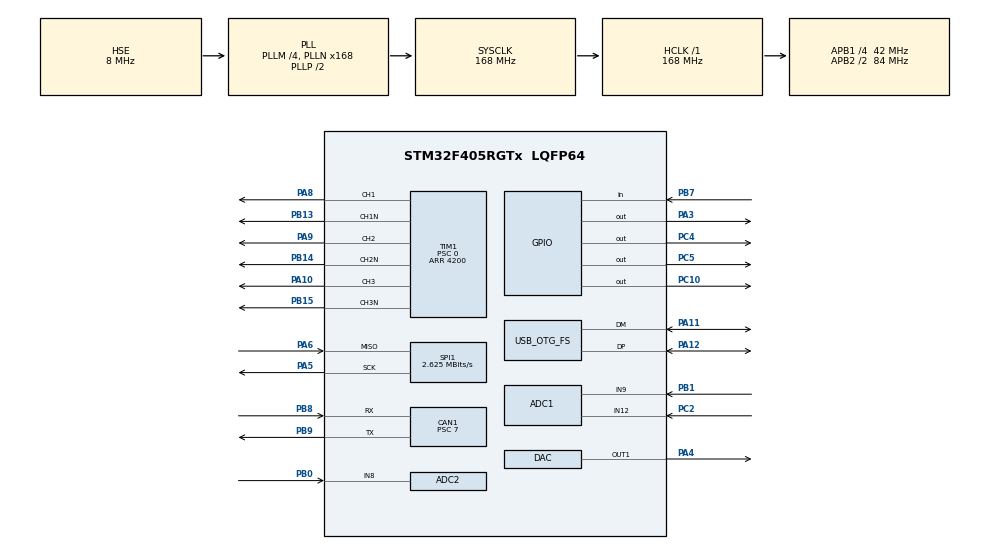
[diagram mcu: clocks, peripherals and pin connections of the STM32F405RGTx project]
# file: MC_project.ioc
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ADC1.Channel-0\#ChannelRegularConversion=ADC_CHANNEL_8
ADC1.Channel-1\#ChannelRegularConversion=ADC_CHANNEL_9
ADC1.Channel-2\#ChannelRegularConversion=ADC_CHANNEL_12
ADC1.ContinuousConvMode=DISABLE
ADC1.DMAContinuousRequests=ENABLE
ADC1.EOCSelection=ADC_EOC_SINGLE_CONV
ADC1.ExternalTrigConv=ADC_EXTERNALTRIGCONV_T8_CC1
ADC1.ExternalTrigConvEdge=ADC_EXTERNALTRIGCONVEDGE_FALLING
ADC1.InjNumberOfConversion=0
ADC1.Mode=ADC_DUALMODE_REGSIMULT
ADC1.NbrOfConversion=3
ADC1.NbrOfConversionFlag=1
ADC1.Rank-0\#ChannelRegularConversion=1
ADC1.Rank-1\#ChannelRegularConversion=2
ADC1.Rank-2\#ChannelRegularConversion=3
ADC1.SamplingTime-0\#ChannelRegularConversion=ADC_SAMPLETIME_3CYCLES
ADC1.SamplingTime-1\#ChannelRegularConversion=ADC_SAMPLETIME_3CYCLES
ADC1.SamplingTime-2\#ChannelRegularConversion=ADC_SAMPLETIME_3CYCLES
ADC1.ScanConvMode=ENABLE
ADC1.master=1
ADC2.Channel-4\#ChannelRegularConversion=ADC_CHANNEL_8
ADC2.Channel-5\#ChannelRegularConversion=ADC_CHANNEL_9
ADC2.Channel-6\#ChannelRegularConversion=ADC_CHANNEL_12
ADC2.DMAAccessMode=ADC_DMAACCESSMODE_2
ADC2.DMAContinuousRequests=DISABLE
ADC2.Mode=ADC_DUALMODE_REGSIMULT
ADC2.NbrOfConversion=3
ADC2.NbrOfConversionFlag=1
ADC2.Rank-4\#ChannelRegularConversion=1
ADC2.Rank-5\#ChannelRegularConversion=2
ADC2.Rank-6\#ChannelRegularConversion=3
ADC2.SamplingTime-4\#ChannelRegularConversion=ADC_SAMPLETIME_3CYCLES
ADC2.SamplingTime-5\#ChannelRegularConversion=ADC_SAMPLETIME_3CYCLES
ADC2.SamplingTime-6\#ChannelRegularConversion=ADC_SAMPLETIME_3CYCLES
ADC2.ScanConvMode=ENABLE
CAN1.ABOM=ENABLE
CAN1.BS1=CAN_BS1_5TQ
CAN1.BS2=CAN_BS2_6TQ
CAN1.CalculateTimeQuantum=166.66666666666669
CAN1.Prescaler=7
Dma.ADC1.0.Direction=DMA_PERIPH_TO_MEMORY
Dma.ADC1.0.FIFOMode=DMA_FIFOMODE_DISABLE
Dma.ADC1.0.Instance=DMA2_Stream0
Dma.ADC1.0.MemDataAlignment=DMA_MDATAALIGN_WORD
Dma.ADC1.0.MemInc=DMA_MINC_ENABLE
Dma.ADC1.0.Mode=DMA_CIRCULAR
Dma.ADC1.0.PeriphDataAlignment=DMA_PDATAALIGN_WORD
Dma.ADC1.0.PeriphInc=DMA_PINC_DISABLE
Dma.ADC1.0.Priority=DMA_PRIORITY_HIGH
Dma.Request0=ADC1
Dma.Request1=SPI1_RX
Dma.SPI1_RX.1.Direction=DMA_PERIPH_TO_MEMORY
Dma.SPI1_RX.1.FIFOMode=DMA_FIFOMODE_DISABLE
Dma.SPI1_RX.1.Instance=DMA2_Stream2
Dma.SPI1_RX.1.MemDataAlignment=DMA_MDATAALIGN_HALFWORD
Dma.SPI1_RX.1.MemInc=DMA_MINC_ENABLE
Dma.SPI1_RX.1.Mode=DMA_NORMAL
Dma.SPI1_RX.1.PeriphDataAlignment=DMA_PDATAALIGN_HALFWORD
Dma.SPI1_RX.1.PeriphInc=DMA_PINC_DISABLE
Dma.SPI1_RX.1.Priority=DMA_PRIORITY_MEDIUM
Mcu.Family=STM32F4
Mcu.Name=STM32F405RGTx
Mcu.Package=LQFP64
NVIC.CAN1_RX0_IRQn=true\:0\:0\:false\:false\:true\:true\:true
NVIC.CAN1_RX1_IRQn=true\:0\:0\:false\:false\:true\:true\:true
NVIC.DMA2_Stream0_IRQn=true\:1\:0\:true\:false\:false\:false\:true
NVIC.DMA2_Stream2_IRQn=true\:0\:0\:false\:false\:true\:false\:true
NVIC.OTG_FS_IRQn=true\:0\:0\:false\:false\:true\:false\:true
NVIC.PriorityGroup=NVIC_PRIORITYGROUP_4
NVIC.TIM3_IRQn=true\:0\:0\:false\:false\:true\:true\:true
PA10.Signal=S_TIM1_CH3
PA11.Mode=Device_Only
PA11.Signal=USB_OTG_FS_DM
PA12.Mode=Device_Only
PA12.Signal=USB_OTG_FS_DP
PA13.Mode=Serial_Wire
PA13.Signal=SYS_JTMS-SWDIO
PA14.Mode=Serial_Wire
PA14.Signal=SYS_JTCK-SWCLK
PA3.Signal=GPIO_Output
PA4.Signal=COMP_DAC1_group
PA5.GPIO_PuPd=GPIO_PULLUP
PA5.Mode=RX_Only_Simplex_Unidirect_Master
PA5.Signal=SPI1_SCK
PA6.Mode=RX_Only_Simplex_Unidirect_Master
PA6.Signal=SPI1_MISO
PA8.Signal=S_TIM1_CH1
PA9.Signal=S_TIM1_CH2
PB0.Signal=ADCx_IN8
PB1.Signal=ADCx_IN9
PB13.Mode=PWM Generation1 CH1 CH1N
PB13.Signal=TIM1_CH1N
PB14.Mode=PWM Generation2 CH2 CH2N
PB14.Signal=TIM1_CH2N
PB15.Mode=PWM Generation3 CH3 CH3N
PB15.Signal=TIM1_CH3N
PB7.Signal=GPIO_Input
PB8.GPIO_PuPd=GPIO_PULLUP
PB8.Mode=Master
PB8.Signal=CAN1_RX
PB9.Mode=Master
PB9.Signal=CAN1_TX
PC10.Signal=GPIO_Output
PC2.Signal=ADCx_IN12
PC4.Signal=GPIO_Output
PC5.Signal=GPIO_Output
PH0-OSC_IN.Mode=HSE-External-Oscillator
PH0-OSC_IN.Signal=RCC_OSC_IN
PH1-OSC_OUT.Mode=HSE-External-Oscillator
PH1-OSC_OUT.Signal=RCC_OSC_OUT
ProjectManager.HeapSize=0x200
ProjectManager.StackSize=0x400
ProjectManager.TargetToolchain=MDK-ARM V5
RCC.48MHZClocksFreq_Value=48000000
RCC.AHBFreq_Value=168000000
RCC.APB1CLKDivider=RCC_HCLK_DIV4
RCC.APB1Freq_Value=42000000
RCC.APB1TimFreq_Value=84000000
RCC.APB2CLKDivider=RCC_HCLK_DIV2
RCC.APB2Freq_Value=84000000
RCC.APB2TimFreq_Value=168000000
RCC.CortexFreq_Value=168000000
RCC.HCLKFreq_Value=168000000
RCC.HSE_VALUE=8000000
RCC.HSI_VALUE=16000000
RCC.LSE_VALUE=32768
RCC.PLLM=4
RCC.PLLN=168
RCC.PLLQ=7
RCC.SYSCLKFreq_VALUE=168000000
RCC.SYSCLKSource=RCC_SYSCLKSOURCE_PLLCLK
RCC.VCOOutputFreq_Value=336000000
SH.ADCx_IN12.0=ADC1_IN12,IN12
SH.ADCx_IN12.1=ADC2_IN12,IN12
SH.ADCx_IN8.0=ADC2_IN8,IN8
SH.ADCx_IN8.1=ADC1_IN8,IN8
SH.ADCx_IN9.0=ADC1_IN9,IN9
SH.ADCx_IN9.1=ADC2_IN9,IN9
SH.COMP_DAC1_group.0=DAC_OUT1,DAC_OUT1
SH.S_TIM1_CH1.0=TIM1_CH1,PWM Generation1 CH1 CH1N
SH.S_TIM1_CH2.0=TIM1_CH2,PWM Generation2 CH2 CH2N
SH.S_TIM1_CH3.0=TIM1_CH3,PWM Generation3 CH3 CH3N
SPI1.BaudRatePrescaler=SPI_BAUDRATEPRESCALER_32
SPI1.CLKPhase=SPI_PHASE_2EDGE
SPI1.CLKPolarity=SPI_POLARITY_HIGH
SPI1.CalculateBaudRate=2.625 MBits/s
SPI1.DataSize=SPI_DATASIZE_16BIT
SPI1.Direction=SPI_DIRECTION_2LINES_RXONLY
SPI1.Mode=SPI_MODE_MASTER
SPI1.VirtualType=VM_MASTER
TIM1.Channel-Output\ Compare4\ No\ Output=TIM_CHANNEL_4
TIM1.Channel-PWM\ Generation1\ CH1\ CH1N=TIM_CHANNEL_1
TIM1.Channel-PWM\ Generation2\ CH2\ CH2N=TIM_CHANNEL_2
TIM1.Channel-PWM\ Generation3\ CH3\ CH3N=TIM_CHANNEL_3
TIM1.CounterMode=TIM_COUNTERMODE_CENTERALIGNED1
TIM1.DeadTime=16
TIM1.Period=4200
TIM1.Prescaler=0
TIM1.TIM_MasterSlaveMode=TIM_MASTERSLAVEMODE_ENABLE
TIM3.Channel-Output\ Compare1\ No\ Output=TIM_CHANNEL_1
TIM3.Period=4200
TIM3.Prescaler=99
TIM8.Channel-PWM\ Generation1\ No\ Output=TIM_CHANNEL_1
TIM8.CounterMode=TIM_COUNTERMODE_UP
TIM8.Period=8399
TIM8.Pulse-PWM\ Generation1\ No\ Output=4020
USB_DEVICE.CLASS_NAME_FS=CDC
USB_DEVICE.VirtualMode-CDC_FS=Cdc
USB_DEVICE.VirtualModeFS=Cdc_FS
USB_OTG_FS.VirtualMode=Device_Only
VP_TIM1_VS_ClockSourceINT.Mode=Internal
VP_TIM1_VS_no_output4.Mode=Output Compare4 No Output
VP_TIM3_VS_ClockSourceINT.Mode=Internal
VP_TIM3_VS_no_output1.Mode=Output Compare1 No Output
VP_TIM8_VS_ClockSourceINT.Mode=Internal
VP_TIM8_VS_ClockSourceITR.Mode=TriggerSource_ITR0
VP_TIM8_VS_ControllerModeReset.Mode=Reset Mode
VP_TIM8_VS_no_output1.Mode=PWM Generation1 No Output
VP_USB_DEVICE_VS_USB_DEVICE_CDC_FS.Mode=CDC_FS
board=custom

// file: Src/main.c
/* USER CODE BEGIN Header */
/**
  ******************************************************************************
  * @file           : main.c
  * @brief          : Main program body
  ******************************************************************************
  * @attention
  *
  * <h2><center>&copy; Copyright (c) 2020 STMicroelectronics.
  * All rights reserved.</center></h2>
  *
  * This software component is licensed by ST under Ultimate Liberty license
  * SLA0044, the "License"; You may not use this file except in compliance with
  * the License. You may obtain a copy of the License at:
  *                             www.st.com/SLA0044
  *
  ******************************************************************************
  */
/* USER CODE END Header */

#include "main.h"
#include "adc.h"
#include "can.h"
#include "dac.h"
#include "dma.h"
#include "spi.h"
#include "tim.h"
#include "usb_device.h"
#include "gpio.h"

/* USER CODE BEGIN Includes */
#include "fmath.h"
#include "DWT.h"
#include "current_functions.h"
#include "PID_controller.h"
#include "motor_calibration.h"

#define ARM_MATH_CM4
#include "arm_math.h"
#include "usbd_cdc_if.h"
/* USER CODE END Includes */

/* USER CODE BEGIN PD */
#define PI_2_3 (float)PI*2.f/3.f
#define MAX_PWM TIM1->ARR
#define HALF_PWM (uint16_t)(MAX_PWM/2)

#define SHUNT_RES 0.005f
#define AMPL_GAIN 10
#define ENCODER_FID (float)(2*PI/524288.f)

#define EN_GATE_PIN GPIO_PIN_10
#define GAIN_PIN GPIO_PIN_7

#define PWM_FREQ 10000
#define SAMPLE_TIME (float)1/PWM_FREQ
#define ADC_2_VOLT (float)(1/66.32f)
#define ADC_2_CUR (float)(3.3/4095/SHUNT_RES/AMPL_GAIN)

#define __LED_D1_ON HAL_GPIO_WritePin(GPIOC, GPIO_PIN_5, 1)
#define __LED_D2_ON HAL_GPIO_WritePin(GPIOC, GPIO_PIN_4, 1)
#define __LED_D1_OFF HAL_GPIO_WritePin(GPIOC, GPIO_PIN_5, 0)
#define __LED_D2_OFF HAL_GPIO_WritePin(GPIOC, GPIO_PIN_4, 0)
#define __DAC_SET_V(signal) HAL_DAC_SetValue(&hdac, DAC_CHANNEL_1, DAC_ALIGN_12B_R, (uint16_t)(signal*4095/10 + 2048))

//#define USB_COM
#define CAN_COM
/* USER CODE END PD */

/* USER CODE BEGIN PV */

uint16_t ind = 0;
uint32_t encoder_data;
float tm = 0;
float freq = 0.02f;

cur_dq_t signal;
cur_dq_t space_voltage_vector;
cur_abc_t phase_voltage;

servo_t motor;
cur_dq_t space_current_vector;
cur_dq_t rotor_current_vector;

pi_t current_controller_d;
pi_t current_controller_q;
pi_t velocity_controller;
pi_t position_controller;
pll_t velocity_pll;

volatile adc_res_t adc_res[2];
uint8_t can_Tx_arr[8];
uint8_t usb_Tx_arr[11];
uint8_t can_Rx_arr[8];

uint16_t enc_buf[2];
uint8_t byte;
uint8_t a = 0;
CAN_TxHeaderTypeDef pHeader; //declare a specific header for message transmittions
uint32_t TxMailbox;
uint8_t a,r; //declare byte to be transmitted //declare a receive byte
CAN_FilterTypeDef sFilterConfig;

/* USER CODE END PV */

void SystemClock_Config(void);

int main(void)
{

  /* MCU Configuration--------------------------------------------------------*/

  /* Reset of all peripherals, Initializes the Flash interface and the Systick. */
  HAL_Init();

  /* Configure the system clock */
  SystemClock_Config();

  /* Initialize all configured peripherals */
  MX_GPIO_Init();
  MX_DMA_Init();
  MX_ADC1_Init();
  MX_CAN1_Init();
  MX_TIM1_Init();
  MX_USB_DEVICE_Init();
  MX_ADC2_Init();
  MX_DAC_Init();
  MX_TIM8_Init();
  MX_SPI1_Init();
  MX_TIM3_Init();
  /* USER CODE BEGIN 2 */

	DWT_start_timer();

	HAL_ADC_Start(&hadc2);
	HAL_ADCEx_MultiModeStart_DMA(&hadc1, (uint32_t *)adc_res, 6);

	htim1.Instance->EGR |= TIM_EGR_UG;
	htim8.Instance->EGR |= TIM_EGR_UG;

	htim8.Instance->CCER = TIM_CCER_CC1E | TIM_CCER_CC4E;
	htim8.Instance->BDTR |= TIM_BDTR_MOE;

	__HAL_TIM_ENABLE(&htim8);

	//Timer 1 complementary mode start
	htim1.Instance->CCER = TIM_CCER_CC1E | TIM_CCER_CC1NE |
	TIM_CCER_CC2E | TIM_CCER_CC2NE |
	TIM_CCER_CC3E | TIM_CCER_CC3NE;
	htim1.Instance->BDTR |= TIM_BDTR_MOE;

	__HAL_TIM_ENABLE(&htim1);

	HAL_GPIO_WritePin(GPIOC, EN_GATE_PIN, 1);
	HAL_DAC_Start(&hdac, DAC1_CHANNEL_1);
	HAL_TIM_Base_Start_IT(&htim3);

	__HAL_SPI_ENABLE(&hspi1);

	//HAL_GPIO_WritePin(GPIOC, GAIN_PIN, 1);

	motor.pole_pairs = 10;
	motor.target_angle = 0.f;

	current_controller_d.Ki = 6;
	current_controller_d.Kp = 0.3f;
	current_controller_d.I_max = 20;
	current_controller_d.u_max = motor.voltage;
	current_controller_d.freq = PWM_FREQ;

	current_controller_q = current_controller_d;

	velocity_controller.Kp = 6;
	velocity_controller.Ki = 3;
	velocity_controller.freq = PWM_FREQ;

	position_controller.Ki = 0;
	position_controller.Kp = 8;
	position_controller.freq = PWM_FREQ;

	velocity_controller.I_max = 10;
	position_controller.I_max = 6;

	velocity_controller.u_max = 20;
	position_controller.u_max = 20;

	velocity_pll.controller.Kp = 50;
	velocity_pll.controller.Ki = 100;
	velocity_pll.controller.u_max = 10000;
	velocity_pll.controller.I_max = 10000;
	velocity_pll.controller.I_last = 0;
	velocity_pll.freq = PWM_FREQ;
	velocity_pll.controller.freq = velocity_pll.freq;
	velocity_pll.theta = 0;

	pHeader.DLC=8; //give message size of 1 byte
	pHeader.IDE=CAN_ID_STD; //set identifier to standard
	pHeader.RTR=0; //set data type to remote transmission request?
	pHeader.StdId=0x244; //define a standard identifier, used for message identification by filters (switch this for the other microcontroller)

		//filter one (stack light blink)
	sFilterConfig.FilterFIFOAssignment=CAN_FILTER_FIFO0; //set fifo assignment
	sFilterConfig.FilterIdHigh=0x000;
	sFilterConfig.FilterIdLow=0x000;
	sFilterConfig.FilterMaskIdHigh=0x0000;
	sFilterConfig.FilterMaskIdLow=0x0000;
	sFilterConfig.FilterScale=CAN_FILTERSCALE_32BIT; //set filter scale
	sFilterConfig.FilterActivation=ENABLE;
	sFilterConfig.FilterBank = 0;
	sFilterConfig.FilterMode = CAN_FILTERMODE_IDMASK;
	sFilterConfig.SlaveStartFilterBank = 14;

	HAL_CAN_ConfigFilter(&hcan1, &sFilterConfig); //configure CAN filter
	HAL_CAN_Start(&hcan1);

	HAL_CAN_ActivateNotification(&hcan1, CAN_IT_RX_FIFO0_MSG_PENDING); //enable interrupts

	TIM3->ARR = 8400;

	motor_calibrate(&motor);
  /* USER CODE END 2 */

  /* Infinite loop */
  /* USER CODE BEGIN WHILE */
  while (1)
  {

		//__LED_D1_ON;
		//__LED_D2_ON;

    /* USER CODE END WHILE */

  }
}

void SystemClock_Config(void)
{
  RCC_OscInitTypeDef RCC_OscInitStruct = {0};
  RCC_ClkInitTypeDef RCC_ClkInitStruct = {0};

  /** Configure the main internal regulator output voltage
  */
  __HAL_RCC_PWR_CLK_ENABLE();
  __HAL_PWR_VOLTAGESCALING_CONFIG(PWR_REGULATOR_VOLTAGE_SCALE1);
  /** Initializes the CPU, AHB and APB busses clocks
  */
  RCC_OscInitStruct.OscillatorType = RCC_OSCILLATORTYPE_HSE;
  RCC_OscInitStruct.HSEState = RCC_HSE_ON;
  RCC_OscInitStruct.PLL.PLLState = RCC_PLL_ON;
  RCC_OscInitStruct.PLL.PLLSource = RCC_PLLSOURCE_HSE;
  RCC_OscInitStruct.PLL.PLLM = 4;
  RCC_OscInitStruct.PLL.PLLN = 168;
  RCC_OscInitStruct.PLL.PLLP = RCC_PLLP_DIV2;
  RCC_OscInitStruct.PLL.PLLQ = 7;
  if (HAL_RCC_OscConfig(&RCC_OscInitStruct) != HAL_OK)
  {
    Error_Handler();
  }
  /** Initializes the CPU, AHB and APB busses clocks
  */
  RCC_ClkInitStruct.ClockType = RCC_CLOCKTYPE_HCLK|RCC_CLOCKTYPE_SYSCLK
                              |RCC_CLOCKTYPE_PCLK1|RCC_CLOCKTYPE_PCLK2;
  RCC_ClkInitStruct.SYSCLKSource = RCC_SYSCLKSOURCE_PLLCLK;
  RCC_ClkInitStruct.AHBCLKDivider = RCC_SYSCLK_DIV1;
  RCC_ClkInitStruct.APB1CLKDivider = RCC_HCLK_DIV4;
  RCC_ClkInitStruct.APB2CLKDivider = RCC_HCLK_DIV2;

  if (HAL_RCC_ClockConfig(&RCC_ClkInitStruct, FLASH_LATENCY_5) != HAL_OK)
  {
    Error_Handler();
  }
}

/* USER CODE BEGIN 4 */

void DMA2_Stream0_IRQHandler()
{
//	tm += 2*PI*freq/PWM_FREQ;;
//	if(tm>2*PI)
//		tm -= 2*PI;
	__LED_D2_ON;
	volatile adc_res_t *res = (DMA2->LISR & DMA_LISR_TCIF0) ? adc_res + 1 : adc_res;
	motor.phase_current.a = ((res->cur_a_1 + res->cur_a_2)*0.5f - 2048)*ADC_2_CUR;
	motor.phase_current.b = ((res->cur_b_1 + res->cur_b_2)*0.5f - 2048)*ADC_2_CUR;
	motor.phase_current.c = - motor.phase_current.a - motor.phase_current.b;

	motor.voltage = (float)((res->volt_1 + res->volt_2)*0.5f*ADC_2_VOLT);

	current_controller_d.u_max = motor.voltage*ISQRT3;
	current_controller_q.u_max = motor.voltage*ISQRT3;
	current_controller_d.I_max = 0.8f*current_controller_d.u_max;
	current_controller_q.I_max = 0.8f*current_controller_q.u_max;

	space_current_vector = clark_transform(&motor.phase_current);
	rotor_current_vector = park_transform(&space_current_vector, motor.theta);

	motor.current_theta = _atan2_(rotor_current_vector.d, rotor_current_vector.q);
	motor.current = sqrtf(SQ(space_current_vector.d) + SQ(space_current_vector.q));

	//get encoder value from bytes array
	encoder_data = (((uint32_t)enc_buf[1] << 16 | (uint32_t)enc_buf[0]) >> 8) & ((1 << 19) - 1);

	motor.angle = encoder_data*ENCODER_FID;
	pll_update(&velocity_pll, motor.angle);
	motor.velocity = velocity_pll.velocity;
	motor.theta = fmodf(motor.angle*motor.pole_pairs, 2*PI);

	pi_update(&current_controller_d, - rotor_current_vector.d);
	pi_update(&current_controller_q,  velocity_controller.u - rotor_current_vector.q);
	pi_update(&velocity_controller, position_controller.u - motor.velocity);
	pi_update(&position_controller,  motor.target_angle - velocity_pll.theta);

	signal.q = current_controller_q.u;
	signal.d = current_controller_d.u;

	motor.rotor_vector.d = current_controller_d.u;
	motor.rotor_vector.q = current_controller_q.u;

	space_voltage_vector = inv_park_transform(&signal, motor.theta);
	phase_voltage = inv_clark_transform(&space_voltage_vector);

	//TIM8->CCR1 = CCR1;
	//TIM1->CCR1 = (uint16_t)(k*sinf(tm) + HALF_PWM);
	//TIM1->CCR2 = (uint16_t)(k*sinf(tm+PI_2_3) + HALF_PWM);
	//TIM1->CCR3 = (uint16_t)(k*sinf(tm+2*PI_2_3) + HALF_PWM);

	TIM1->CCR1 = phase_voltage.b*HALF_PWM/motor.voltage + HALF_PWM;
	TIM1->CCR2 = phase_voltage.c*HALF_PWM/motor.voltage + HALF_PWM;
	TIM1->CCR3 = phase_voltage.a*HALF_PWM/motor.voltage + HALF_PWM;

	HAL_SPI_Receive(&hspi1, (uint8_t *)enc_buf, 2, 50);

	DMA2->LIFCR = DMA_LIFCR_CTCIF0 | DMA_LIFCR_CHTIF0;
	__LED_D2_OFF;
}

void HAL_TIM_PeriodElapsedCallback(TIM_HandleTypeDef *htim){

	if(htim->Instance == TIM3){

	#ifdef CAN_COM
		memcpy(can_Tx_arr, &motor.angle, 4);
		memcpy(can_Tx_arr + 4, &motor.current, 4);
		HAL_CAN_AddTxMessage(&hcan1, &pHeader, (uint8_t *)can_Tx_arr, &TxMailbox);  //function to add message for transmition
	#endif //USB_COM

	#ifdef USB_COM
		usb_Tx_arr[0] = 0xff;
		memcpy(usb_Tx_arr+1, &motor.angle, 4);
		memcpy(usb_Tx_arr+5, &motor.rotor_vector.q, 4);
		CDC_Transmit_FS((uint8_t *)usb_Tx_arr, 13);
	#endif //USB_COM
	}

}
void HAL_CAN_RxFifo0MsgPendingCallback(CAN_HandleTypeDef *hcan)
{
	__LED_D1_ON;
  CAN_RxHeaderTypeDef msgHeader;
  uint32_t msgId = 0;

  HAL_CAN_GetRxMessage(hcan, CAN_RX_FIFO0, &msgHeader, can_Rx_arr);
  motor.target_angle = *(float *)can_Rx_arr ;
  if (msgHeader.IDE == CAN_ID_EXT)
  {
    msgId = msgHeader.ExtId;
  }
  else
  {
    msgId = msgHeader.StdId;
  }
	__LED_D1_OFF;
}

/* USER CODE END 4 */

void Error_Handler(void)
{
}

#ifdef  USE_FULL_ASSERT
/**
  * @brief  Reports the name of the source file and the source line number
  *         where the assert_param error has occurred.
  * @param  file: pointer to the source file name
  * @param  line: assert_param error line source number
  * @retval None
  */
void assert_failed(uint8_t *file, uint32_t line)
{
  /* USER CODE BEGIN 6 */
  /* User can add his own implementation to report the file name and line number,
    printf("Wrong parameters value: file %s on line %d\r\n", file, line) */
  /* USER CODE END 6 */
}
#endif /* USE_FULL_ASSERT */

/************************ (C) COPYRIGHT STMicroelectronics *****END OF FILE****/
